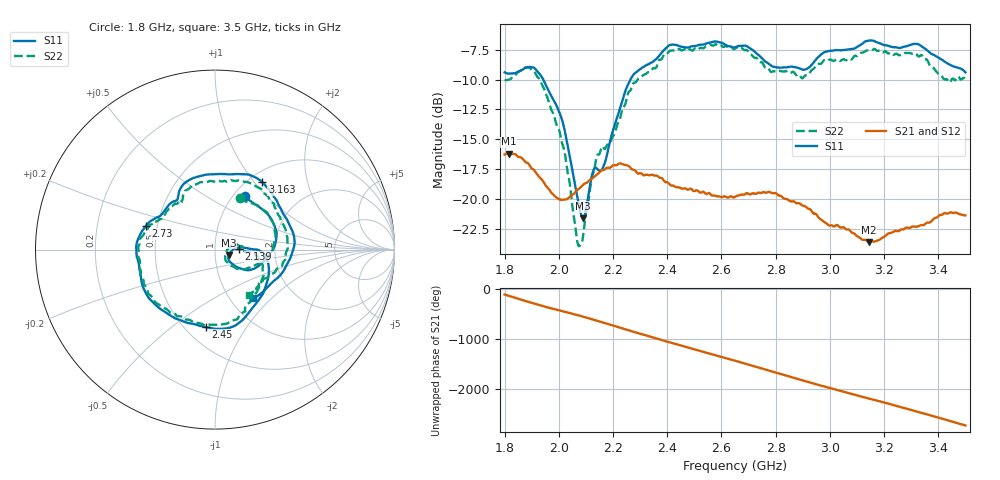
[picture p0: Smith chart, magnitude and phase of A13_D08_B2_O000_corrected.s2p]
! Created with skrf 1.9.0 (http://scikit-rf.org).
# Hz S RI R 50.0
!freq ReS11 ImS11 ReS21 ImS21 ReS12 ImS12 ReS22 ImS22
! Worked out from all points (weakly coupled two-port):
!   1601 points, 1.8 GHz to 3.5 GHz, reference 50 ohm
!   highest |S21| = -16.20 dB at 1.815 GHz (marker M1); lowest = -23.6 dB at 3.143 GHz (marker M2)
!   lowest |S11| = -21.6 dB at 2.09 GHz (marker M3), VSWR 1.18, Z = 58.3 - j3.52 ohm
!   |S11| at or under -10 dB: 1.943 GHz to 2.264 GHz (321.4 MHz wide, 15.3 % of centre)
!   |S22| runs from -23.9 to -7.0 dB; largest |S21 - S12| = 0.003
!   S11 on the Smith chart (normalised r, x): 1.8 GHz: 1.13, +0.75; 2.139 GHz: 1.31, +0.01; 2.45 GHz: 0.63, -0.67; 2.73 GHz: 0.43, +0.14; 3.163 GHz: 1.16, +1.10; 3.5 GHz: 1.27, -0.77
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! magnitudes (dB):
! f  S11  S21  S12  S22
! 1.8 GHz  -9.4  -16.3  -16.3  -10.0
! 1.815 GHz  -9.5  -16.2  -16.2  -10.0
! 1.887 GHz  -9.0  -17.0  -17.1  -9.0
! 1.94 GHz  -9.9  -18.5  -18.5  -10.5
! 2.013 GHz  -13.4  -20.1  -20.1  -15.4
! 2.067 GHz  -19.7  -19.3  -19.3  -23.4
! 2.084 GHz  -21.4  -18.9  -18.9  -23.7
! 2.09 GHz  -21.6  -18.8  -18.8  -23.0
! 2.139 GHz  -17.4  -18.0  -18.0  -16.5
! 2.167 GHz  -17.2  -17.6  -17.5  -15.8
! 2.265 GHz  -9.9  -17.4  -17.4  -10.9
! 2.367 GHz  -8.1  -18.1  -18.1  -8.5
! 2.45 GHz  -7.2  -19.1  -19.1  -7.5
! 2.65 GHz  -7.3  -19.8  -19.8  -7.4
! 2.73 GHz  -7.8  -19.5  -19.6  -8.2
! 2.934 GHz  -8.7  -21.0  -21.0  -9.2
! 3.143 GHz  -6.7  -23.6  -23.5  -7.5
! 3.163 GHz  -6.8  -23.6  -23.5  -7.4
! 3.217 GHz  -7.2  -22.9  -22.9  -7.8
! 3.326 GHz  -7.0  -22.3  -22.3  -8.0
! 3.435 GHz  -8.7  -21.2  -21.2  -10.1
! 3.5 GHz  -9.4  -21.4  -21.4  -10.0
